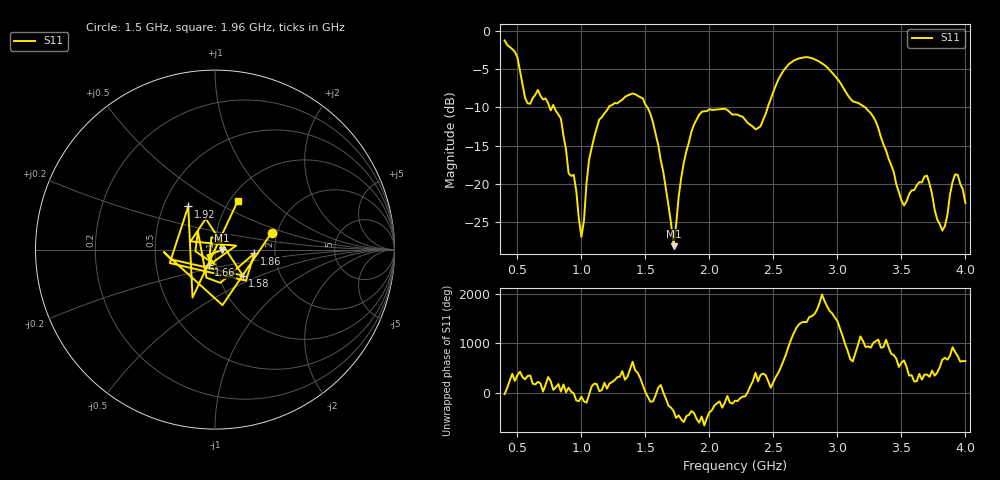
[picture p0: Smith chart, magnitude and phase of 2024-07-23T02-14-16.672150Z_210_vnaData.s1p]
!Created with skrf (http://scikit-rf.org).
# Hz S RI R 50.0
!freq ReS11 ImS11
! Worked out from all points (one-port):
!   181 points, 400 MHz to 4 GHz, reference 50 ohm
!   lowest |S11| = -28.1 dB at 1.72 GHz (marker M1), VSWR 1.08, Z = 54.1 - j0.226 ohm
!   |S11| at or under -10 dB: 788.2 MHz to 1.213 GHz (425.3 MHz wide, 42.5 % of centre); 1.515 GHz to 2.456 GHz (940.5 MHz wide, 47.4 % of centre); 3.219 GHz to end of sweep (the widest 3 of 4)
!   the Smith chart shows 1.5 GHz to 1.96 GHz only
!   S11 on the Smith chart (normalised r, x): 1.5 GHz: 1.87, +0.39; 1.58 GHz: 1.30, -0.39; 1.66 GHz: 0.92, -0.16; 1.86 GHz: 1.56, -0.07; 1.92 GHz: 0.67, +0.35; 1.96 GHz: 1.09, +0.65
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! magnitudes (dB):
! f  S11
! 400 MHz  -1.3
! 580 MHz  -9.5
! 660 MHz  -7.7
! 860 MHz  -13.7
! 940 MHz  -18.8
! 1 GHz  -26.9
! 1.06 GHz  -16.8
! 1.12 GHz  -12.7
! 1.3 GHz  -9.2
! 1.5 GHz  -9.7
! 1.58 GHz  -13.5
! 1.66 GHz  -20.6
! 1.72 GHz  -28.1
! 1.76 GHz  -21.7
! 1.86 GHz  -13.1
! 1.92 GHz  -11.0
! 1.96 GHz  -10.5
! 2.2 GHz  -10.9
! 2.4 GHz  -12.5
! 2.66 GHz  -3.9
! 3.1 GHz  -8.8
! 3.3 GHz  -11.8
! 3.52 GHz  -22.8
! 3.56 GHz  -21.4
! 3.7 GHz  -18.9
! 3.82 GHz  -26.1
! 3.92 GHz  -18.7
! 4 GHz  -22.5
